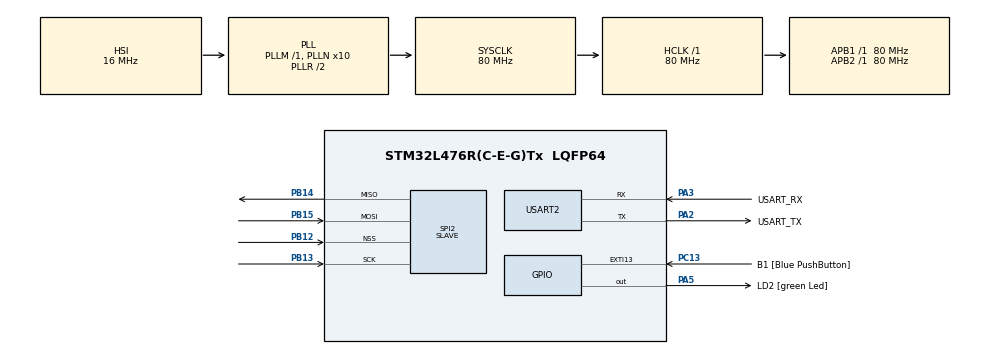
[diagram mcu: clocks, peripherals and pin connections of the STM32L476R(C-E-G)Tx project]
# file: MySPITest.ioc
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Dma.Request0=SPI2_TX
Dma.Request1=SPI2_RX
Dma.SPI2_RX.1.Direction=DMA_PERIPH_TO_MEMORY
Dma.SPI2_RX.1.Instance=DMA1_Channel4
Dma.SPI2_RX.1.MemDataAlignment=DMA_MDATAALIGN_BYTE
Dma.SPI2_RX.1.MemInc=DMA_MINC_ENABLE
Dma.SPI2_RX.1.Mode=DMA_NORMAL
Dma.SPI2_RX.1.PeriphDataAlignment=DMA_PDATAALIGN_BYTE
Dma.SPI2_RX.1.PeriphInc=DMA_PINC_DISABLE
Dma.SPI2_RX.1.Priority=DMA_PRIORITY_LOW
Dma.SPI2_TX.0.Direction=DMA_MEMORY_TO_PERIPH
Dma.SPI2_TX.0.Instance=DMA1_Channel5
Dma.SPI2_TX.0.MemDataAlignment=DMA_MDATAALIGN_BYTE
Dma.SPI2_TX.0.MemInc=DMA_MINC_ENABLE
Dma.SPI2_TX.0.Mode=DMA_NORMAL
Dma.SPI2_TX.0.PeriphDataAlignment=DMA_PDATAALIGN_BYTE
Dma.SPI2_TX.0.PeriphInc=DMA_PINC_DISABLE
Dma.SPI2_TX.0.Priority=DMA_PRIORITY_LOW
Mcu.Family=STM32L4
Mcu.Name=STM32L476R(C-E-G)Tx
Mcu.Package=LQFP64
NVIC.DMA1_Channel4_IRQn=true\:0\:0\:false\:false\:true\:false\:true\:true
NVIC.DMA1_Channel5_IRQn=true\:0\:0\:false\:false\:true\:false\:true\:true
NVIC.PriorityGroup=NVIC_PRIORITYGROUP_4
PA13\ (JTMS-SWDIO).GPIO_Label=TMS
PA13\ (JTMS-SWDIO).Mode=Trace_Asynchronous_SW
PA13\ (JTMS-SWDIO).Signal=SYS_JTMS-SWDIO
PA14\ (JTCK-SWCLK).GPIO_Label=TCK
PA14\ (JTCK-SWCLK).Mode=Trace_Asynchronous_SW
PA14\ (JTCK-SWCLK).Signal=SYS_JTCK-SWCLK
PA2.GPIO_Label=USART_TX
PA2.GPIO_Mode=GPIO_MODE_AF_PP
PA2.GPIO_PuPd=GPIO_NOPULL
PA2.GPIO_Speed=GPIO_SPEED_FREQ_VERY_HIGH
PA2.Mode=Asynchronous
PA2.Signal=USART2_TX
PA3.GPIO_Label=USART_RX
PA3.GPIO_Mode=GPIO_MODE_AF_PP
PA3.GPIO_PuPd=GPIO_NOPULL
PA3.GPIO_Speed=GPIO_SPEED_FREQ_VERY_HIGH
PA3.Mode=Asynchronous
PA3.Signal=USART2_RX
PA5.GPIO_Label=LD2 [green Led]
PA5.GPIO_ModeDefaultOutputPP=GPIO_MODE_OUTPUT_PP
PA5.GPIO_PuPd=GPIO_NOPULL
PA5.GPIO_Speed=GPIO_SPEED_FREQ_LOW
PA5.Signal=GPIO_Output
PB12.Mode=NSS_Signal_Hard_Input
PB12.Signal=SPI2_NSS
PB13.GPIO_Speed=GPIO_SPEED_FREQ_VERY_HIGH
PB13.Mode=Full_Duplex_Slave
PB13.Signal=SPI2_SCK
PB14.GPIO_Speed=GPIO_SPEED_FREQ_VERY_HIGH
PB14.Mode=Full_Duplex_Slave
PB14.Signal=SPI2_MISO
PB15.GPIO_Speed=GPIO_SPEED_FREQ_VERY_HIGH
PB15.Mode=Full_Duplex_Slave
PB15.Signal=SPI2_MOSI
PB3\ (JTDO-TRACESWO).GPIO_Label=SWO
PB3\ (JTDO-TRACESWO).Mode=Trace_Asynchronous_SW
PB3\ (JTDO-TRACESWO).Signal=SYS_JTDO-SWO
PC13.GPIO_Label=B1 [Blue PushButton]
PC13.GPIO_ModeDefaultEXTI=GPIO_MODE_IT_FALLING
PC13.GPIO_PuPd=GPIO_NOPULL
PC13.Signal=GPXTI13
PC14-OSC32_IN\ (PC14).Mode=LSE-External-Oscillator
PC14-OSC32_IN\ (PC14).Signal=RCC_OSC32_IN
PC15-OSC32_OUT\ (PC15).Mode=LSE-External-Oscillator
PC15-OSC32_OUT\ (PC15).Signal=RCC_OSC32_OUT
PH0-OSC_IN\ (PH0).Signal=RCC_OSC_IN
PH1-OSC_OUT\ (PH1).Signal=RCC_OSC_OUT
ProjectManager.HeapSize=0x200
ProjectManager.StackSize=0x400
ProjectManager.TargetToolchain=STM32CubeIDE
RCC.ADCFreq_Value=64000000
RCC.AHBFreq_Value=80000000
RCC.APB1Freq_Value=80000000
RCC.APB1TimFreq_Value=80000000
RCC.APB2Freq_Value=80000000
RCC.APB2TimFreq_Value=80000000
RCC.CortexFreq_Value=80000000
RCC.HCLKFreq_Value=80000000
RCC.HSE_VALUE=8000000
RCC.HSI_VALUE=16000000
RCC.MSI_VALUE=4000000
RCC.PLLN=10
RCC.PLLSourceVirtual=RCC_PLLSOURCE_HSI
RCC.PREFETCH_ENABLE=1
RCC.SYSCLKFreq_VALUE=80000000
RCC.SYSCLKSource=RCC_SYSCLKSOURCE_PLLCLK
RCC.USBFreq_Value=64000000
RCC.VCOOutputFreq_Value=160000000
SPI2.DataSize=SPI_DATASIZE_8BIT
SPI2.Direction=SPI_DIRECTION_2LINES
SPI2.Mode=SPI_MODE_SLAVE
SPI2.VirtualNSS=VM_NSSHARD
SPI2.VirtualType=VM_SLAVE
USART2.VirtualMode-Asynchronous=VM_ASYNC
board=NUCLEO-L476RG

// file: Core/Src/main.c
/* USER CODE BEGIN Header */
/**
  ******************************************************************************
  * @file           : main.c
  * @brief          : Main program body
  ******************************************************************************
  * @attention
  *
  * Copyright (c) 2023 STMicroelectronics.
  * All rights reserved.
  *
  * This software is licensed under terms that can be found in the LICENSE file
  * in the root directory of this software component.
  * If no LICENSE file comes with this software, it is provided AS-IS.
  *
  ******************************************************************************
  */
/* USER CODE END Header */
#include "main.h"
#include "dma.h"
#include "spi.h"
#include "usart.h"
#include "gpio.h"

/* USER CODE BEGIN Includes */
#include <stdio.h>

/* USER CODE END Includes */

/* USER CODE BEGIN PD */
#define CPU_CORE_FREQUENCY_HZ 80000000
/* USER CODE END PD */

void SystemClock_Config(void);

/* USER CODE BEGIN 0 */
void SWO_Init(uint32_t chan, uint32_t freq){

}

int _write(int file, char *ptr, int len)
 {
	 int DataIdx;
	 for (DataIdx = 0; DataIdx < len; DataIdx++)
	 {
		 ITM_SendChar(*ptr++);
	 }
	 return len;
 }

int __io_putchar(int ch)
{
	// Write character to ITM ch.0
	ITM_SendChar(ch);
	return(ch);
}

void app_main();

/* USER CODE END 0 */

int main(void)
{
  /* USER CODE BEGIN 1 */
	//uint8_t recv_SPI_buff[255];
	//int hal_spi_status;
  /* USER CODE END 1 */

  /* MCU Configuration--------------------------------------------------------*/

  /* Reset of all peripherals, Initializes the Flash interface and the Systick. */
  HAL_Init();

  /* USER CODE BEGIN Init */
  SWO_Init(0x1, CPU_CORE_FREQUENCY_HZ);

  /* USER CODE END Init */

  /* Configure the system clock */
  SystemClock_Config();

  /* Initialize all configured peripherals */
  MX_GPIO_Init();
  MX_DMA_Init();
  MX_USART2_UART_Init();
  MX_SPI2_Init();
  /* USER CODE BEGIN 2 */
  printf("SPI starting\n");
  app_main();

  /* USER CODE END 2 */

  /* Infinite loop */
  /* USER CODE BEGIN WHILE */
  while (1)
  {

#if 0
	  hal_spi_status = HAL_SPI_Receive(&hspi2, recv_SPI_buff, 4, 10);
	  if (HAL_BUSY!=hal_spi_status)
	  switch(hal_spi_status){
	  case HAL_TIMEOUT:
		  // snprintf(debug_mesg, 256, " <timeout> \n ");
		  break;
	  case HAL_OK:
		  printf("received: %X %X %X %X\n", recv_SPI_buff[0], recv_SPI_buff[1], recv_SPI_buff[2], recv_SPI_buff[3]);
		  break;
	  case HAL_ERROR:
		  printf(" <SPI error>\n");
		  break;
	  }
#endif

    /* USER CODE END WHILE */

  }
}

void SystemClock_Config(void)
{
  RCC_OscInitTypeDef RCC_OscInitStruct = {0};
  RCC_ClkInitTypeDef RCC_ClkInitStruct = {0};

  /** Configure the main internal regulator output voltage
  */
  if (HAL_PWREx_ControlVoltageScaling(PWR_REGULATOR_VOLTAGE_SCALE1) != HAL_OK)
  {
    Error_Handler();
  }

  /** Initializes the RCC Oscillators according to the specified parameters
  * in the RCC_OscInitTypeDef structure.
  */
  RCC_OscInitStruct.OscillatorType = RCC_OSCILLATORTYPE_HSI;
  RCC_OscInitStruct.HSIState = RCC_HSI_ON;
  RCC_OscInitStruct.HSICalibrationValue = RCC_HSICALIBRATION_DEFAULT;
  RCC_OscInitStruct.PLL.PLLState = RCC_PLL_ON;
  RCC_OscInitStruct.PLL.PLLSource = RCC_PLLSOURCE_HSI;
  RCC_OscInitStruct.PLL.PLLM = 1;
  RCC_OscInitStruct.PLL.PLLN = 10;
  RCC_OscInitStruct.PLL.PLLP = RCC_PLLP_DIV7;
  RCC_OscInitStruct.PLL.PLLQ = RCC_PLLQ_DIV2;
  RCC_OscInitStruct.PLL.PLLR = RCC_PLLR_DIV2;
  if (HAL_RCC_OscConfig(&RCC_OscInitStruct) != HAL_OK)
  {
    Error_Handler();
  }

  /** Initializes the CPU, AHB and APB buses clocks
  */
  RCC_ClkInitStruct.ClockType = RCC_CLOCKTYPE_HCLK|RCC_CLOCKTYPE_SYSCLK
                              |RCC_CLOCKTYPE_PCLK1|RCC_CLOCKTYPE_PCLK2;
  RCC_ClkInitStruct.SYSCLKSource = RCC_SYSCLKSOURCE_PLLCLK;
  RCC_ClkInitStruct.AHBCLKDivider = RCC_SYSCLK_DIV1;
  RCC_ClkInitStruct.APB1CLKDivider = RCC_HCLK_DIV1;
  RCC_ClkInitStruct.APB2CLKDivider = RCC_HCLK_DIV1;

  if (HAL_RCC_ClockConfig(&RCC_ClkInitStruct, FLASH_LATENCY_4) != HAL_OK)
  {
    Error_Handler();
  }
}

void Error_Handler(void)
{
  __disable_irq();
  while (1)
  {
  }
}
